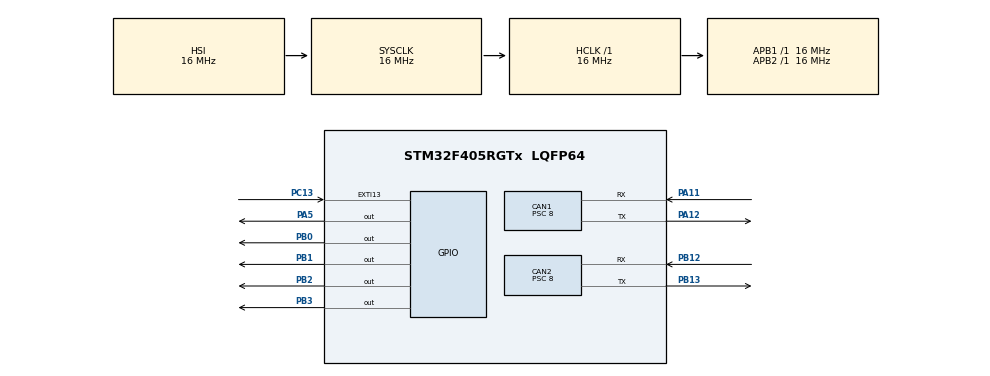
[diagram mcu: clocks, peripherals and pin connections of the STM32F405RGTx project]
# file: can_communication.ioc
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CAN1.BS1=CAN_BS1_2TQ
CAN1.CalculateBaudRate=500000
CAN1.CalculateTimeBit=2000
CAN1.CalculateTimeQuantum=500.0
CAN1.Mode=CAN_MODE_NORMAL
CAN1.Prescaler=8
CAN2.BS1=CAN_BS1_2TQ
CAN2.CalculateBaudRate=500000
CAN2.CalculateTimeBit=2000
CAN2.CalculateTimeQuantum=500.0
CAN2.Mode=CAN_MODE_NORMAL
CAN2.Prescaler=8
Mcu.Family=STM32F4
Mcu.Name=STM32F405RGTx
Mcu.Package=LQFP64
NVIC.CAN1_RX0_IRQn=true\:0\:0\:false\:false\:true\:true\:true\:true
NVIC.CAN2_RX1_IRQn=true\:0\:0\:false\:false\:true\:true\:true\:true
NVIC.EXTI15_10_IRQn=true\:0\:0\:false\:false\:true\:true\:true\:true
NVIC.PriorityGroup=NVIC_PRIORITYGROUP_4
PA11.GPIO_PuPd=GPIO_PULLUP
PA11.Mode=CAN_Activate
PA11.Signal=CAN1_RX
PA12.GPIO_PuPd=GPIO_PULLUP
PA12.Mode=CAN_Activate
PA12.Signal=CAN1_TX
PA13.Mode=Serial_Wire
PA13.Signal=SYS_JTMS-SWDIO
PA14.Mode=Serial_Wire
PA14.Signal=SYS_JTCK-SWCLK
PA5.Signal=GPIO_Output
PB0.Signal=GPIO_Output
PB1.Signal=GPIO_Output
PB12.GPIO_PuPd=GPIO_PULLUP
PB12.Mode=CAN_Activate
PB12.Signal=CAN2_RX
PB13.GPIO_PuPd=GPIO_PULLUP
PB13.Mode=CAN_Activate
PB13.Signal=CAN2_TX
PB2.Signal=GPIO_Output
PB3.Signal=GPIO_Output
PC13-ANTI_TAMP.Signal=GPXTI13
PH0-OSC_IN.Mode=HSE-External-Oscillator
PH0-OSC_IN.Signal=RCC_OSC_IN
PH1-OSC_OUT.Mode=HSE-External-Oscillator
PH1-OSC_OUT.Signal=RCC_OSC_OUT
ProjectManager.HeapSize=0x200
ProjectManager.StackSize=0x400
ProjectManager.TargetToolchain=STM32CubeIDE
RCC.48MHZClocksFreq_Value=48000000
RCC.AHBFreq_Value=16000000
RCC.APB1Freq_Value=16000000
RCC.APB1TimFreq_Value=16000000
RCC.APB2Freq_Value=16000000
RCC.APB2TimFreq_Value=16000000
RCC.CortexFreq_Value=16000000
RCC.HCLKFreq_Value=16000000
RCC.HSE_VALUE=25000000
RCC.HSI_VALUE=16000000
RCC.LSE_VALUE=32768
RCC.SYSCLKFreq_VALUE=16000000
RCC.VCOOutputFreq_Value=192000000
board=custom

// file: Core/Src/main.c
/* USER CODE BEGIN Header */
/**
  ******************************************************************************
  * @file           : main.c
  * @brief          : Main program body
  ******************************************************************************
  * @attention
  *
  * Copyright (c) 2023 STMicroelectronics.
  * All rights reserved.
  *
  * This software is licensed under terms that can be found in the LICENSE file
  * in the root directory of this software component.
  * If no LICENSE file comes with this software, it is provided AS-IS.
  *
  ******************************************************************************
  */
/* USER CODE END Header */
#include "main.h"

CAN_HandleTypeDef hcan1;
CAN_HandleTypeDef hcan2;

void SystemClock_Config(void);
static void MX_GPIO_Init(void);
static void MX_CAN1_Init(void);
static void MX_CAN2_Init(void);

/* USER CODE BEGIN 0 */

CAN_TxHeaderTypeDef TxHeader1;
CAN_RxHeaderTypeDef RxHeader1;

uint8_t TxData1[8];
uint8_t RxData1[8];

CAN_TxHeaderTypeDef TxHeader2;
CAN_RxHeaderTypeDef RxHeader2;

uint8_t TxData2[8];
uint8_t RxData2[8];

uint32_t TxMailbox;

int datacheck1 = 0;
int datacheck2 = 0;

void HAL_GPIO_EXTI_Callback(uint16_t GPIO_Pin)
{
	if (GPIO_Pin == GPIO_PIN_1)
	{

	}
}

void HAL_CAN_RxFifo0MsgPendingCallback(CAN_HandleTypeDef *hcan)
{
		HAL_CAN_GetRxMessage(hcan, CAN_RX_FIFO0, &RxHeader1 ,RxData1);
		if (RxHeader1.DLC == 2)
		{
			datacheck1 = 1;
		}

}

void HAL_CAN_RxFifo1MsgPendingCallback(CAN_HandleTypeDef *hcan)
{
		HAL_CAN_GetRxMessage(hcan, CAN_RX_FIFO1, &RxHeader2, RxData2);
		if (RxHeader2.DLC == 2)
		{
			datacheck2 = 1;
		}
}
/* USER CODE END 0 */

int main(void)
{

  /* MCU Configuration--------------------------------------------------------*/

  /* Reset of all peripherals, Initializes the Flash interface and the Systick. */
  HAL_Init();

  /* Configure the system clock */
  SystemClock_Config();

  /* Initialize all configured peripherals */
  MX_GPIO_Init();
  MX_CAN1_Init();
  MX_CAN2_Init();
  /* USER CODE BEGIN 2 */
  HAL_CAN_Start(&hcan1);
  HAL_CAN_Start(&hcan2);

  // Activate the notification
  HAL_CAN_ActivateNotification(&hcan1, CAN_IT_RX_FIFO0_MSG_PENDING);
  HAL_CAN_ActivateNotification(&hcan2, CAN_IT_RX_FIFO1_MSG_PENDING);

  HAL_Delay(300);

  TxHeader1.DLC   = 2;  // data length
  TxHeader1.IDE   = CAN_ID_STD;
  TxHeader1.RTR   = CAN_RTR_DATA;
  TxHeader1.StdId = 0x012;  // ID

  TxData1[0] = 100;
  TxData1[1] = 40;

  TxHeader2.DLC   = 2;  // data length
  TxHeader2.IDE   = CAN_ID_STD;
  TxHeader2.RTR   = CAN_RTR_DATA;
  TxHeader2.StdId = 0x0A2;  // ID

  TxData2[0] = 100;
  TxData2[1] = 40;

//  if(HAL_CAN_AddTxMessage(&hcan1, &TxHeader1, TxData1, &TxMailbox) == HAL_OK){
//	 HAL_GPIO_WritePin(GPIOB, GPIO_PIN_0, SET);
//  }
   if(HAL_CAN_AddTxMessage(&hcan2, &TxHeader2, TxData2, &TxMailbox) == HAL_OK){
	 HAL_GPIO_WritePin(GPIOB, GPIO_PIN_2, SET);
   }
   HAL_Delay(100);

  /* USER CODE END 2 */

  /* Infinite loop */
  /* USER CODE BEGIN WHILE */
  while (1)
  {
	  //toggle
	  if (datacheck1)
	  {
		  // blink the LED
		  for (int i=0; i<RxData1[1]; i++)
		  {
			  HAL_GPIO_TogglePin(GPIOB, GPIO_PIN_1);
			  HAL_Delay(RxData1[0]);
		  }
		  datacheck1 = 0;

			TxData1[0] = 100;   // ms Delay
			TxData1[1] = 40;    // loop rep

			HAL_CAN_AddTxMessage(&hcan1, &TxHeader1, TxData1, &TxMailbox);
	  }
	  HAL_Delay(100);
	  if (datacheck2)
	 	  {
	 		  // blink the LED
	 		  for (int i=0; i<RxData2[1]; i++)
	 		  {
	 			  HAL_GPIO_TogglePin(GPIOB, GPIO_PIN_3);
	 			  HAL_Delay(RxData2[0]);
	 		  }
	 		  datacheck2 = 0;

	 			TxData2[0] = 100;   // ms Delay
	 			TxData2[1] = 40;    // loop rep

	 			HAL_CAN_AddTxMessage(&hcan2, &TxHeader2, TxData2, &TxMailbox);
	 	  }
    /* USER CODE END WHILE */

  }
}

void SystemClock_Config(void)
{
  RCC_OscInitTypeDef RCC_OscInitStruct = {0};
  RCC_ClkInitTypeDef RCC_ClkInitStruct = {0};

  /** Configure the main internal regulator output voltage
  */
  __HAL_RCC_PWR_CLK_ENABLE();
  __HAL_PWR_VOLTAGESCALING_CONFIG(PWR_REGULATOR_VOLTAGE_SCALE1);

  /** Initializes the RCC Oscillators according to the specified parameters
  * in the RCC_OscInitTypeDef structure.
  */
  RCC_OscInitStruct.OscillatorType = RCC_OSCILLATORTYPE_HSI;
  RCC_OscInitStruct.HSIState = RCC_HSI_ON;
  RCC_OscInitStruct.HSICalibrationValue = RCC_HSICALIBRATION_DEFAULT;
  RCC_OscInitStruct.PLL.PLLState = RCC_PLL_NONE;
  if (HAL_RCC_OscConfig(&RCC_OscInitStruct) != HAL_OK)
  {
    Error_Handler();
  }

  /** Initializes the CPU, AHB and APB buses clocks
  */
  RCC_ClkInitStruct.ClockType = RCC_CLOCKTYPE_HCLK|RCC_CLOCKTYPE_SYSCLK
                              |RCC_CLOCKTYPE_PCLK1|RCC_CLOCKTYPE_PCLK2;
  RCC_ClkInitStruct.SYSCLKSource = RCC_SYSCLKSOURCE_HSI;
  RCC_ClkInitStruct.AHBCLKDivider = RCC_SYSCLK_DIV1;
  RCC_ClkInitStruct.APB1CLKDivider = RCC_HCLK_DIV1;
  RCC_ClkInitStruct.APB2CLKDivider = RCC_HCLK_DIV1;

  if (HAL_RCC_ClockConfig(&RCC_ClkInitStruct, FLASH_LATENCY_0) != HAL_OK)
  {
    Error_Handler();
  }
}

static void MX_CAN1_Init(void)
{

  hcan1.Instance = CAN1;
  hcan1.Init.Prescaler = 8;
  hcan1.Init.Mode = CAN_MODE_NORMAL;
  hcan1.Init.SyncJumpWidth = CAN_SJW_1TQ;
  hcan1.Init.TimeSeg1 = CAN_BS1_2TQ;
  hcan1.Init.TimeSeg2 = CAN_BS2_1TQ;
  hcan1.Init.TimeTriggeredMode = DISABLE;
  hcan1.Init.AutoBusOff = DISABLE;
  hcan1.Init.AutoWakeUp = DISABLE;
  hcan1.Init.AutoRetransmission = DISABLE;
  hcan1.Init.ReceiveFifoLocked = DISABLE;
  hcan1.Init.TransmitFifoPriority = DISABLE;
  if (HAL_CAN_Init(&hcan1) != HAL_OK)
  {
    Error_Handler();
  }
  /* USER CODE BEGIN CAN1_Init 2 */
  CAN_FilterTypeDef canfilterconfig;

    canfilterconfig.FilterActivation = CAN_FILTER_ENABLE;
    canfilterconfig.FilterBank = 1;  // which filter bank to use from the assigned ones
    canfilterconfig.FilterFIFOAssignment = CAN_FILTER_FIFO0;
    canfilterconfig.FilterIdHigh = 0;
    canfilterconfig.FilterIdLow = 0;
    canfilterconfig.FilterMaskIdHigh = 0;
    canfilterconfig.FilterMaskIdLow = 0;
    canfilterconfig.FilterMode = CAN_FILTERMODE_IDMASK;
    canfilterconfig.FilterScale = CAN_FILTERSCALE_32BIT;
    canfilterconfig.SlaveStartFilterBank = 20;  // how many filters to assign to the CAN1 (master can)

    HAL_CAN_ConfigFilter(&hcan1, &canfilterconfig);
  /* USER CODE END CAN1_Init 2 */

}

static void MX_CAN2_Init(void)
{

  hcan2.Instance = CAN2;
  hcan2.Init.Prescaler = 8;
  hcan2.Init.Mode = CAN_MODE_NORMAL;
  hcan2.Init.SyncJumpWidth = CAN_SJW_1TQ;
  hcan2.Init.TimeSeg1 = CAN_BS1_2TQ;
  hcan2.Init.TimeSeg2 = CAN_BS2_1TQ;
  hcan2.Init.TimeTriggeredMode = DISABLE;
  hcan2.Init.AutoBusOff = DISABLE;
  hcan2.Init.AutoWakeUp = DISABLE;
  hcan2.Init.AutoRetransmission = DISABLE;
  hcan2.Init.ReceiveFifoLocked = DISABLE;
  hcan2.Init.TransmitFifoPriority = DISABLE;
  if (HAL_CAN_Init(&hcan2) != HAL_OK)
  {
    Error_Handler();
  }
  /* USER CODE BEGIN CAN2_Init 2 */
      CAN_FilterTypeDef canfilterconfig;

      canfilterconfig.FilterActivation = CAN_FILTER_ENABLE;
      canfilterconfig.FilterBank = 25;  // which filter bank to use from the assigned ones
      canfilterconfig.FilterFIFOAssignment = CAN_FILTER_FIFO1;
      canfilterconfig.FilterIdHigh = 0;
      canfilterconfig.FilterIdLow = 0;
      canfilterconfig.FilterMaskIdHigh = 0;
      canfilterconfig.FilterMaskIdLow = 0x0000;
      canfilterconfig.FilterMode = CAN_FILTERMODE_IDMASK;
      canfilterconfig.FilterScale = CAN_FILTERSCALE_32BIT;
      canfilterconfig.SlaveStartFilterBank = 20;  // how many filters to assign to the CAN1 (master can)

      HAL_CAN_ConfigFilter(&hcan2, &canfilterconfig);
  /* USER CODE END CAN2_Init 2 */

}

static void MX_GPIO_Init(void)
{
  GPIO_InitTypeDef GPIO_InitStruct = {0};

  /* GPIO Ports Clock Enable */
  __HAL_RCC_GPIOC_CLK_ENABLE();
  __HAL_RCC_GPIOH_CLK_ENABLE();
  __HAL_RCC_GPIOA_CLK_ENABLE();
  __HAL_RCC_GPIOB_CLK_ENABLE();

  /*Configure GPIO pin Output Level */
  HAL_GPIO_WritePin(GPIOA, GPIO_PIN_5, GPIO_PIN_RESET);

  /*Configure GPIO pin Output Level */
  HAL_GPIO_WritePin(GPIOB, GPIO_PIN_0|GPIO_PIN_1|GPIO_PIN_2|GPIO_PIN_3, GPIO_PIN_RESET);

  /*Configure GPIO pin : PC13 */
  GPIO_InitStruct.Pin = GPIO_PIN_13;
  GPIO_InitStruct.Mode = GPIO_MODE_IT_RISING;
  GPIO_InitStruct.Pull = GPIO_NOPULL;
  HAL_GPIO_Init(GPIOC, &GPIO_InitStruct);

  /*Configure GPIO pin : PA5 */
  GPIO_InitStruct.Pin = GPIO_PIN_5;
  GPIO_InitStruct.Mode = GPIO_MODE_OUTPUT_PP;
  GPIO_InitStruct.Pull = GPIO_NOPULL;
  GPIO_InitStruct.Speed = GPIO_SPEED_FREQ_LOW;
  HAL_GPIO_Init(GPIOA, &GPIO_InitStruct);

  /*Configure GPIO pins : PB0 PB1 PB2 PB3 */
  GPIO_InitStruct.Pin = GPIO_PIN_0|GPIO_PIN_1|GPIO_PIN_2|GPIO_PIN_3;
  GPIO_InitStruct.Mode = GPIO_MODE_OUTPUT_PP;
  GPIO_InitStruct.Pull = GPIO_NOPULL;
  GPIO_InitStruct.Speed = GPIO_SPEED_FREQ_LOW;
  HAL_GPIO_Init(GPIOB, &GPIO_InitStruct);

  /* EXTI interrupt init*/
  HAL_NVIC_SetPriority(EXTI15_10_IRQn, 0, 0);
  HAL_NVIC_EnableIRQ(EXTI15_10_IRQn);

}

void Error_Handler(void)
{
  __disable_irq();
  while (1)
  {
  }
}
